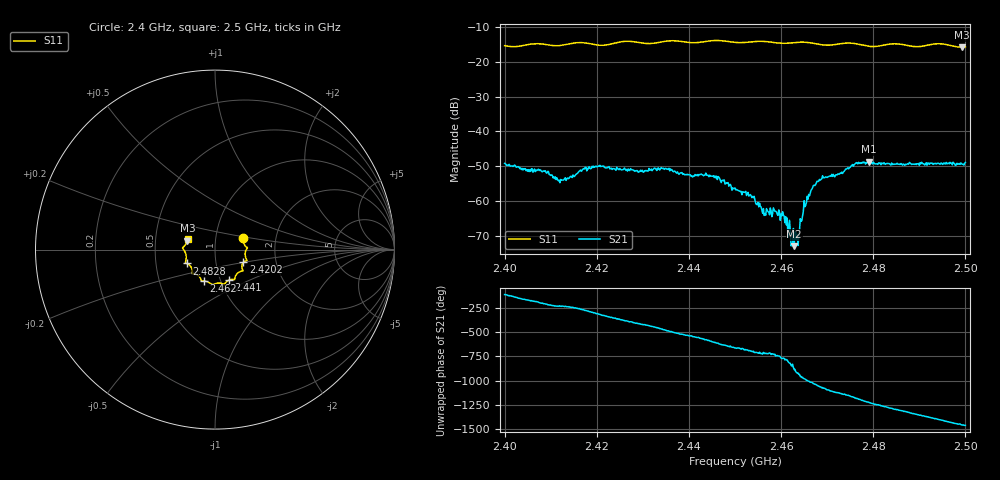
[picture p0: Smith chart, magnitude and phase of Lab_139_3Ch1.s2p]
# Hz S RI R 50
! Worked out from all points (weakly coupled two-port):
!   601 points, 2.4 GHz to 2.5 GHz, reference 50 ohm
!   highest |S21| = -48.72 dB at 2.479 GHz (marker M1); lowest = -73.0 dB at 2.4628 GHz (marker M2)
!   lowest |S11| = -15.8 dB at 2.4992 GHz (marker M3), VSWR 1.39, Z = 36.5 + j3.67 ohm
!   |S11| at or under -10 dB: start of sweep to end of sweep
!   S12 and S22 are empty: the file has one direction only
!   S11 on the Smith chart (normalised r, x): 2.4 GHz: 1.36, +0.18; 2.4202 GHz: 1.36, -0.20; 2.441 GHz: 1.10, -0.39; 2.462 GHz: 0.84, -0.30; 2.4828 GHz: 0.72, -0.12; 2.5 GHz: 0.73, +0.09
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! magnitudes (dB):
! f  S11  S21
! 2.4 GHz  -15.4  -49.2
! 2.412 GHz  -15.4  -54.7
! 2.4167 GHz  -14.5  -51.5
! 2.4202 GHz  -15.2  -50.1
! 2.4333 GHz  -14.5  -50.5
! 2.441 GHz  -14.6  -52.8
! 2.4462 GHz  -13.9  -53.8
! 2.45 GHz  -14.5  -56.2
! 2.4537 GHz  -14.3  -59.0
! 2.4562 GHz  -14.2  -62.2
! 2.4605 GHz  -14.7  -64.0
! 2.462 GHz  -14.6  -68.4
! 2.4628 GHz  -14.5  -73.0
! 2.4638 GHz  -14.4  -70.3
! 2.4652 GHz  -14.4  -61.6
! 2.4667 GHz  -14.6  -56.6
! 2.4688 GHz  -15.2  -53.6
! 2.479 GHz  -15.6  -48.7
! 2.4828 GHz  -15.1  -49.3
! 2.4833 GHz  -15.0  -49.2
! 2.4992 GHz  -15.8  -49.3
! 2.5 GHz  -15.7  -48.9
